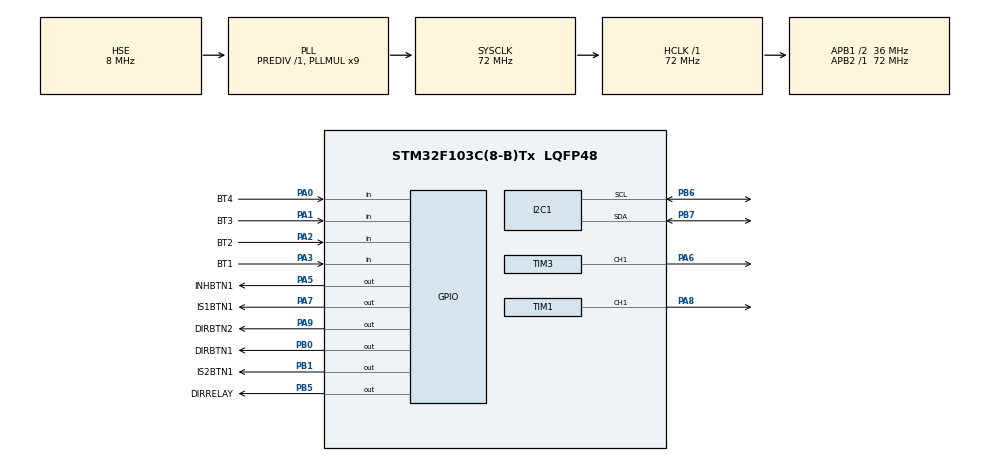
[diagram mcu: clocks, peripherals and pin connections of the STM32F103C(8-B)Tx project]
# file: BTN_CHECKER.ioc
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I2C1.I2C_Mode=I2C_Fast
Mcu.Family=STM32F1
Mcu.Name=STM32F103C(8-B)Tx
Mcu.Package=LQFP48
NVIC.PriorityGroup=NVIC_PRIORITYGROUP_4
PA0-WKUP.GPIO_Label=BT4
PA0-WKUP.GPIO_PuPd=GPIO_PULLUP
PA0-WKUP.Signal=GPIO_Input
PA1.GPIO_Label=BT3
PA1.GPIO_PuPd=GPIO_PULLUP
PA1.Signal=GPIO_Input
PA13.Mode=Serial_Wire
PA13.Signal=SYS_JTMS-SWDIO
PA14.Mode=Serial_Wire
PA14.Signal=SYS_JTCK-SWCLK
PA2.GPIO_Label=BT2
PA2.Signal=GPIO_Input
PA3.GPIO_Label=BT1
PA3.Signal=GPIO_Input
PA5.GPIO_Label=INHBTN1
PA5.Signal=GPIO_Output
PA6.Signal=S_TIM3_CH1
PA7.GPIO_Label=IS1BTN1
PA7.Signal=GPIO_Output
PA8.Signal=S_TIM1_CH1
PA9.GPIO_Label=DIRBTN2
PA9.Signal=GPIO_Output
PB0.GPIO_Label=DIRBTN1
PB0.Signal=GPIO_Output
PB1.GPIO_Label=IS2BTN1
PB1.Signal=GPIO_Output
PB5.GPIO_Label=DIRRELAY
PB5.Signal=GPIO_Output
PB6.Mode=I2C
PB6.Signal=I2C1_SCL
PB7.Mode=I2C
PB7.Signal=I2C1_SDA
PD0-OSC_IN.Mode=HSE-External-Oscillator
PD0-OSC_IN.Signal=RCC_OSC_IN
PD1-OSC_OUT.Mode=HSE-External-Oscillator
PD1-OSC_OUT.Signal=RCC_OSC_OUT
ProjectManager.HeapSize=0x200
ProjectManager.StackSize=0x400
ProjectManager.TargetToolchain=MDK-ARM V5.32
RCC.AHBFreq_Value=72000000
RCC.APB1CLKDivider=RCC_HCLK_DIV2
RCC.APB1Freq_Value=36000000
RCC.APB1TimFreq_Value=72000000
RCC.APB2Freq_Value=72000000
RCC.APB2TimFreq_Value=72000000
RCC.HCLKFreq_Value=72000000
RCC.PLLMUL=RCC_PLL_MUL9
RCC.PLLSourceVirtual=RCC_PLLSOURCE_HSE
RCC.SYSCLKFreq_VALUE=72000000
RCC.SYSCLKSource=RCC_SYSCLKSOURCE_PLLCLK
RCC.USBFreq_Value=72000000
SH.S_TIM1_CH1.0=TIM1_CH1,PWM Generation1 CH1
SH.S_TIM3_CH1.0=TIM3_CH1,PWM Generation1 CH1
TIM1.Channel-PWM\ Generation1\ CH1=TIM_CHANNEL_1
TIM1.Period=2000
TIM1.Prescaler=21
TIM3.Channel-PWM\ Generation1\ CH1=TIM_CHANNEL_1
TIM3.Period=2000
TIM3.Prescaler=21
board=custom

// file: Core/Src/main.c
/* USER CODE BEGIN Header */
/**
  ******************************************************************************
  * @author					: Septian
	*	@file           : main.c
  * @brief          : Main program body
  ******************************************************************************
  * @attention
  *
  * <h2><center>&copy; Copyright (c) 2023 STMicroelectronics.
  * All rights reserved.</center></h2>
  *
  * This software component is licensed by ST under BSD 3-Clause license,
  * the "License"; You may not use this file except in compliance with the
  * License. You may obtain a copy of the License at:
  *                        opensource.org/licenses/BSD-3-Clause
  *
  ******************************************************************************
  */
/* USER CODE END Header */
#include "main.h"
#include "i2c.h"
#include "tim.h"
#include "gpio.h"

/* USER CODE BEGIN Includes */
#include "ssd1306.h"
#include "fonts.h"
#include "stdio.h"

/* USER CODE END Includes */

void SystemClock_Config(void);

/* USER CODE BEGIN 0 */

int hasil = 0;

//void motor1(float pwm){

//	if(pwm>=1000){pwm=1000;}
//	else if(pwm<=-1000){pwm=-1000;}
//
//	if(pwm>=0){
//		//HAL_GPIO_WritePin(DirectionPort1,DirectionPin1,GPIO_PIN_RESET);
//
//		__HAL_TIM_SET_COMPARE(&htim1,TIM_CHANNEL_1,pwm);
//	}
//
//	else {
//		pwm=1000+pwm;
//		//HAL_GPIO_WritePin(DirectionPort1,DirectionPin1,GPIO_PIN_SET);
//
//		__HAL_TIM_SET_COMPARE(&htim1,TIM_CHANNEL_1,pwm);
//	}
//}

//void motor2(float pwm){

//	if(pwm>=1000){pwm=1000;}
//	else if(pwm<=-1000){pwm=-1000;}
//
//	if(pwm>=0){
//		//HAL_GPIO_WritePin(DirectionPort1,DirectionPin1,GPIO_PIN_RESET);
//
//		__HAL_TIM_SET_COMPARE(&htim3,TIM_CHANNEL_1,pwm);
//	}
//
//	else {
//		pwm=1000+pwm;
//		//HAL_GPIO_WritePin(DirectionPort1,DirectionPin1,GPIO_PIN_SET);
//
//		__HAL_TIM_SET_COMPARE(&htim3,TIM_CHANNEL_1,pwm);
//	}
//}
/* USER CODE END 0 */

int main(void)
{

  /* MCU Configuration--------------------------------------------------------*/

  /* Reset of all peripherals, Initializes the Flash interface and the Systick. */
  HAL_Init();

  /* Configure the system clock */
  SystemClock_Config();

  /* Initialize all configured peripherals */
  MX_GPIO_Init();
  MX_I2C1_Init();
  MX_TIM1_Init();
  MX_TIM3_Init();
  /* USER CODE BEGIN 2 */

	HAL_TIM_PWM_Start(&htim1,TIM_CHANNEL_1);
	HAL_TIM_PWM_Start(&htim3,TIM_CHANNEL_1);

  SSD1306_Init();
  char snum[5];
	char tampil [50];
	//float pwm = 0;

//uint8_t buttonMaju, buttonMundur, buttonPWMTambah, buttonPWMKurang;

//#define buttonMaju			 HAL_GPIO_ReadPin(GPIOA,GPIO_PIN_3)
//#define buttonMundur		 HAL_GPIO_ReadPin(GPIOA,GPIO_PIN_2)
//#define buttonPWMTambah  HAL_GPIO_ReadPin(GPIOA,GPIO_PIN_1)
//#define buttonPWMKurang  HAL_GPIO_ReadPin(GPIOA,GPIO_PIN_0)

  //SSD1306_GotoXY (0,0);
  //SSD1306_Puts ("Maju", &Font_11x18, 1);
  SSD1306_GotoXY (45,15);
  SSD1306_Puts ("BTN", &Font_11x18, 1);
  SSD1306_GotoXY (25, 35);
  SSD1306_Puts ("CHECKER", &Font_11x18, 1);

SSD1306_UpdateScreen();
HAL_Delay (1500);
SSD1306_Clear();
	int value = 0;
	int delayne = 100;
//	int value2 = 500;

HAL_GPIO_WritePin(INHBTN1_GPIO_Port, INHBTN1_Pin, 1);

  /* USER CODE END 2 */

  /* Infinite loop */
  while (1)
  {

    /* USER CODE BEGIN 3 */
//		TIM3->CCR1 = value; //btn1
//		TIM1->CCR1 = value2; //btn2

//		HAL_GPIO_WritePin(DIRBTN1_GPIO_Port,DIRBTN1_Pin,0);
//		HAL_GPIO_WritePin(DIRBTN2_GPIO_Port,DIRBTN2_Pin,0);
//		HAL_Delay(1000);
//
//		// CCw
//		HAL_GPIO_WritePin(DIRBTN1_GPIO_Port,DIRBTN1_Pin,1);
//		HAL_GPIO_WritePin(DIRBTN2_GPIO_Port,DIRBTN2_Pin,1);
//
//		HAL_Delay(1000);

		//Tambah PWM
		if(HAL_GPIO_ReadPin(GPIOA,GPIO_PIN_3)==0){
			HAL_Delay(delayne);
			hasil += 10;
			if(hasil>=100){hasil=100;}
			SSD1306_GotoXY (20,30);
			sprintf(tampil, "PWM: %4d", hasil);
			SSD1306_Puts (tampil, &Font_11x18, 1);
			SSD1306_UpdateScreen();
		}

		//Kurang PWM
		else if(HAL_GPIO_ReadPin(GPIOA,GPIO_PIN_2)==0){
			HAL_Delay(delayne);
			hasil -= 10;
			if(hasil<=0){hasil=0;}
			SSD1306_GotoXY (20,30);
			sprintf(tampil, "PWM: %4d", hasil);
			SSD1306_Puts (tampil, &Font_11x18, 1);
			SSD1306_UpdateScreen();
		}
//
		//Maju
		if(HAL_GPIO_ReadPin(GPIOA,GPIO_PIN_1)==0){
			if(hasil>=0){
				HAL_GPIO_WritePin(DIRBTN1_GPIO_Port, DIRBTN1_Pin, 0);
				HAL_GPIO_WritePin(DIRBTN2_GPIO_Port, DIRBTN2_Pin, 0);
			}
			else{
				hasil = 100+hasil;
				HAL_GPIO_WritePin(DIRBTN1_GPIO_Port,DIRBTN1_Pin,1);
				HAL_GPIO_WritePin(DIRBTN2_GPIO_Port,DIRBTN2_Pin,1);
			}
		//relay==1;
		HAL_GPIO_WritePin(DIRRELAY_GPIO_Port, DIRRELAY_Pin, 1);

				SSD1306_GotoXY (20,10);
				SSD1306_Puts ("Maju  ", &Font_11x18, 1);
				SSD1306_UpdateScreen();
		}

		//Mundur
		else if(HAL_GPIO_ReadPin(GPIOA,GPIO_PIN_0)==0){
//			HAL_GPIO_WritePin(DIRBTN1_GPIO_Port,DIRBTN1_Pin,0);
//			HAL_GPIO_WritePin(DIRBTN2_GPIO_Port,DIRBTN2_Pin,0);
			if(hasil>=0){
				HAL_GPIO_WritePin(DIRBTN1_GPIO_Port, DIRBTN1_Pin, 1);
				HAL_GPIO_WritePin(DIRBTN2_GPIO_Port, DIRBTN2_Pin, 1);
			}
			else{
				hasil = 100+hasil;
				HAL_GPIO_WritePin(DIRBTN1_GPIO_Port,DIRBTN1_Pin,0);
				HAL_GPIO_WritePin(DIRBTN2_GPIO_Port,DIRBTN2_Pin,0);
			}
			//relay==0;
			HAL_GPIO_WritePin(DIRRELAY_GPIO_Port, DIRRELAY_Pin, 0);
			SSD1306_GotoXY (20,10);
			SSD1306_Puts ("Mundur", &Font_11x18, 1);
			SSD1306_UpdateScreen();
		}
		TIM3->CCR1 = hasil*2000/100; //btn1
		TIM1->CCR1 = hasil*2000/100; //btn2
	}
  /* USER CODE END 3 */
}

void SystemClock_Config(void)
{
  RCC_OscInitTypeDef RCC_OscInitStruct = {0};
  RCC_ClkInitTypeDef RCC_ClkInitStruct = {0};

  /** Initializes the RCC Oscillators according to the specified parameters
  * in the RCC_OscInitTypeDef structure.
  */
  RCC_OscInitStruct.OscillatorType = RCC_OSCILLATORTYPE_HSE;
  RCC_OscInitStruct.HSEState = RCC_HSE_ON;
  RCC_OscInitStruct.HSEPredivValue = RCC_HSE_PREDIV_DIV1;
  RCC_OscInitStruct.HSIState = RCC_HSI_ON;
  RCC_OscInitStruct.PLL.PLLState = RCC_PLL_ON;
  RCC_OscInitStruct.PLL.PLLSource = RCC_PLLSOURCE_HSE;
  RCC_OscInitStruct.PLL.PLLMUL = RCC_PLL_MUL9;
  if (HAL_RCC_OscConfig(&RCC_OscInitStruct) != HAL_OK)
  {
    Error_Handler();
  }
  /** Initializes the CPU, AHB and APB buses clocks
  */
  RCC_ClkInitStruct.ClockType = RCC_CLOCKTYPE_HCLK|RCC_CLOCKTYPE_SYSCLK
                              |RCC_CLOCKTYPE_PCLK1|RCC_CLOCKTYPE_PCLK2;
  RCC_ClkInitStruct.SYSCLKSource = RCC_SYSCLKSOURCE_PLLCLK;
  RCC_ClkInitStruct.AHBCLKDivider = RCC_SYSCLK_DIV1;
  RCC_ClkInitStruct.APB1CLKDivider = RCC_HCLK_DIV2;
  RCC_ClkInitStruct.APB2CLKDivider = RCC_HCLK_DIV1;

  if (HAL_RCC_ClockConfig(&RCC_ClkInitStruct, FLASH_LATENCY_2) != HAL_OK)
  {
    Error_Handler();
  }
}

void Error_Handler(void)
{
  __disable_irq();
  while (1)
  {
  }
}

/************************ (C) COPYRIGHT STMicroelectronics *****END OF FILE****/
